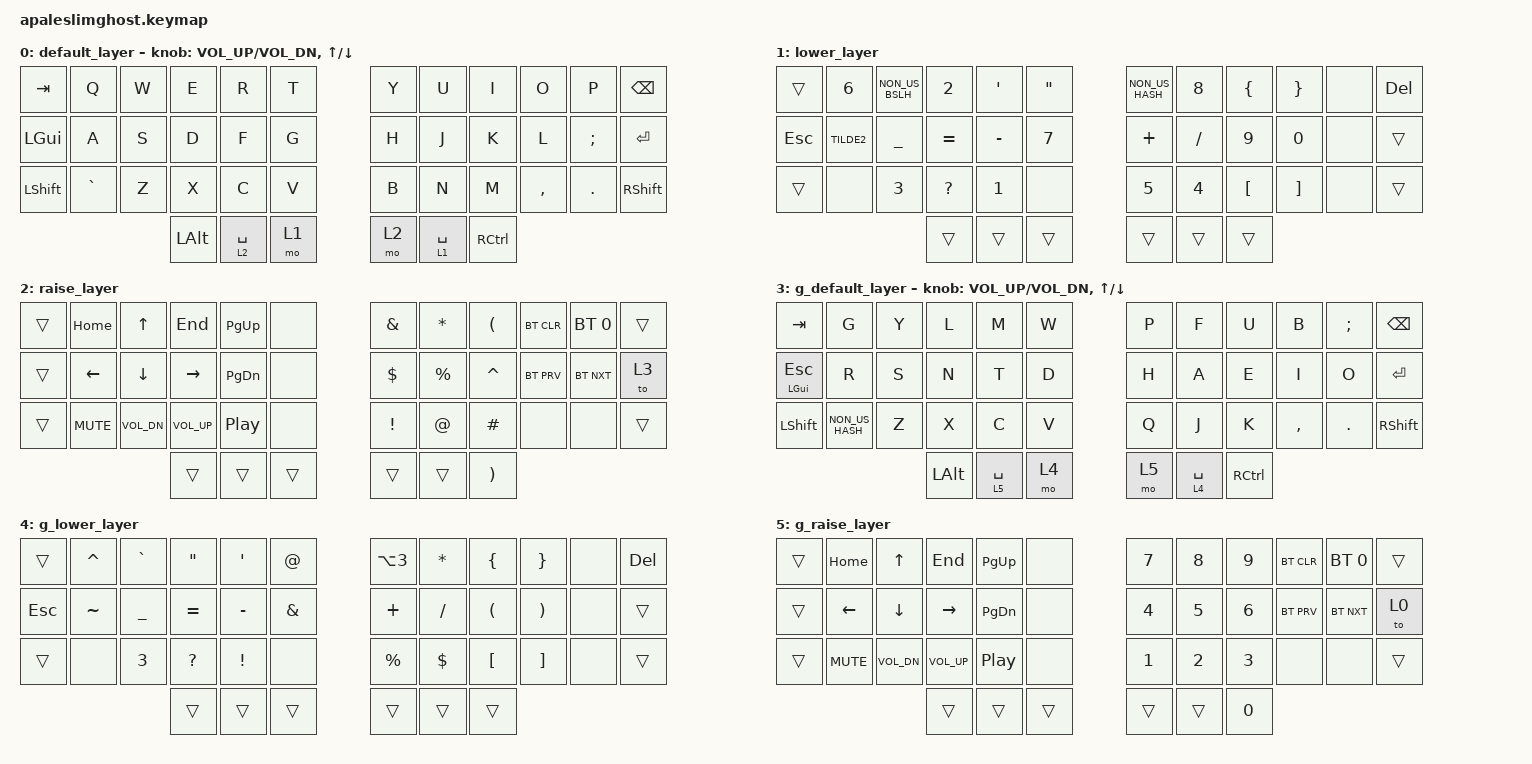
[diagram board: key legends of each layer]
/*
 * Copyright (c) 2020 The ZMK Contribu ggrs
 *
 * SPDX-License-Identifier: MIT
 */

#include <behaviors.dtsi>
#include <dt-bindings/zmk/keys.h>
#include <dt-bindings/zmk/bt.h>

&lt {
        flavor = "hold-preferred";
        require-prior-idle-ms = <100>;
        retro-tap;
};

/ {
        keymap {
                compatible = "zmk,keymap";

                default_layer {
// -----------------------------------------------------------------------------------------
// |  TAB |  Q  |  W  |  E  |  R  |  T  |   |  Y  |  U   |  I  |  O  |  P  | BKSP |
// |  GUI |  A  |  S  |  D  |  F  |  G  |   |  H  |  J   |  K  |  L  |  ;  | ENT  |
// | SHFT |  \  |  Z  |  X  |  C  |  V  |   |  B  |  N   |  M  |  ,  |  .  | SHFT |
//                    | ALT | LWR | SPC |   | ENT | RSE  | CTL |
                        bindings = <
   &kp TAB   &kp Q     &kp W &kp E &kp R &kp T   &kp Y &kp U  &kp I  &kp O     &kp P     &kp BSPC
   &kp LGUI  &kp A     &kp S &kp D &kp F &kp G   &kp H &kp J  &kp K  &kp L     &kp SEMI  &kp RET
   &kp LSHFT &kp GRAVE &kp Z &kp X &kp C &kp V   &kp B &kp N  &kp M  &kp COMMA &kp DOT   &kp RSHFT
                          &kp LALT &lt 2 SPACE &mo 1   &mo 2 &lt 1 SPACE &kp RCTRL
                        >;

                        sensor-bindings = <&inc_dec_kp C_VOL_UP C_VOL_DN &inc_dec_kp UP DOWN>;
                };

                lower_layer {
// -----------------------------------------------------------------------------------------
// |      |  ^  |  `  |  "  |  '  |  @  |   |  #  |  *  |  {  |  }  |     | DEL  |
// | ESC  |  ~  |  _  |  =  |  -  |  &  |   |  +  |  /  |  (  |  )  |     |      |
// |      |     |  £  |  ?  |  !  |     |   |  %  |  $  |  [  |  ]  |     |      |
//                    |     |     |     |   |     |     |     |
                        bindings = <
   &trans  &kp N6     &kp NON_US_BSLH &kp N2     &kp APOS  &kp DQT   &kp NON_US_HASH &kp N8    &kp LBRC  &kp RBRC  &none &kp DEL
   &kp ESC &kp TILDE2 &kp UNDER       &kp EQUAL  &kp MINUS &kp N7    &kp PLUS        &kp SLASH &kp N9    &kp N0    &none &trans
   &trans  &none      &kp N3          &kp QMARK  &kp N1    &none     &kp N5          &kp N4    &kp LBKT  &kp RBKT  &none &trans
                                          &trans &trans &trans &trans &trans &trans
                        >;
                };

                raise_layer {
// -----------------------------------------------------------------------------------------
// |      |HOME | UP  | END |PGUP |     |   |  7  |  8  |  9  |     |     | DEL  |
// | ESC  |LEFT |DOWN |RIGHT|PGDN |     |   |  4  |  5  |  6  |     |     |      |
// |      |MUTE |VOL- |VOL+ |PLAY |     |   |  1  |  2  |  3  |     |     |      |
//                    |     |     |     |   |     |     |  0  |
                        bindings = <
   &trans &kp HOME   &kp UP       &kp END      &kp PG_UP &none   &kp AMPS &kp STAR  &kp LPAR  &bt BT_CLR &bt BT_SEL 0 &trans
   &trans &kp LEFT   &kp DOWN     &kp RIGHT    &kp PG_DN &none   &kp DLLR &kp PRCNT &kp CARET &bt BT_PRV &bt BT_NXT   &to 3
   &trans &kp K_MUTE &kp C_VOL_DN &kp C_VOL_UP &kp C_PP  &none   &kp EXCL &kp AT    &kp POUND &none      &none        &trans
                                            &trans &trans &trans &trans &trans &kp RPAR
                        >;
                };

                g_default_layer {
                        bindings = <
   &kp TAB   &kp G           &kp Y &kp L &kp M &kp W   &kp P &kp F  &kp U  &kp B     &kp SEMI  &kp BSPC
   &mt LGUI ESC  &kp R           &kp S &kp N &kp T &kp D   &kp H &kp A  &kp E  &kp I     &kp O     &kp RET
   &kp LSHFT &kp NON_US_HASH &kp Z &kp X &kp C &kp V   &kp Q &kp J  &kp K  &kp COMMA &kp DOT   &kp RSHFT
                          &kp LALT &lt 5 SPACE &mo 4   &mo 5 &lt 4 SPACE &kp RCTRL
                        >;

                        sensor-bindings = <&inc_dec_kp C_VOL_UP C_VOL_DN &inc_dec_kp UP DOWN>;
                };

                g_lower_layer {
                        bindings = <
   &trans  &kp CARET  &kp GRAVE       &kp DQT    &kp APOS  &kp AT    &kp LA(N3) &kp STAR  &kp LBRC  &kp RBRC  &none &kp DEL
   &kp ESC &kp TILDE  &kp UNDER       &kp EQUAL  &kp MINUS &kp AMPS  &kp PLUS   &kp SLASH &kp LPAR  &kp RPAR  &none &trans
   &trans  &none      &kp N3          &kp QMARK  &kp EXCL  &none     &kp PRCNT  &kp DLLR  &kp LBKT  &kp RBKT  &none &trans
                                          &trans &trans &trans &trans &trans &trans
                        >;
                };

                g_raise_layer {
                        bindings = <
   &trans &kp HOME   &kp UP       &kp END      &kp PG_UP &none   &kp N7 &kp N8 &kp N9 &bt BT_CLR &bt BT_SEL 0 &trans
   &trans &kp LEFT   &kp DOWN     &kp RIGHT    &kp PG_DN &none   &kp N4 &kp N5 &kp N6 &bt BT_PRV &bt BT_NXT   &to 0
   &trans &kp K_MUTE &kp C_VOL_DN &kp C_VOL_UP &kp C_PP  &none   &kp N1 &kp N2 &kp N3 &none      &none        &trans
                                            &trans &trans &trans &trans &trans &kp N0
                        >;
                };
        };

};
